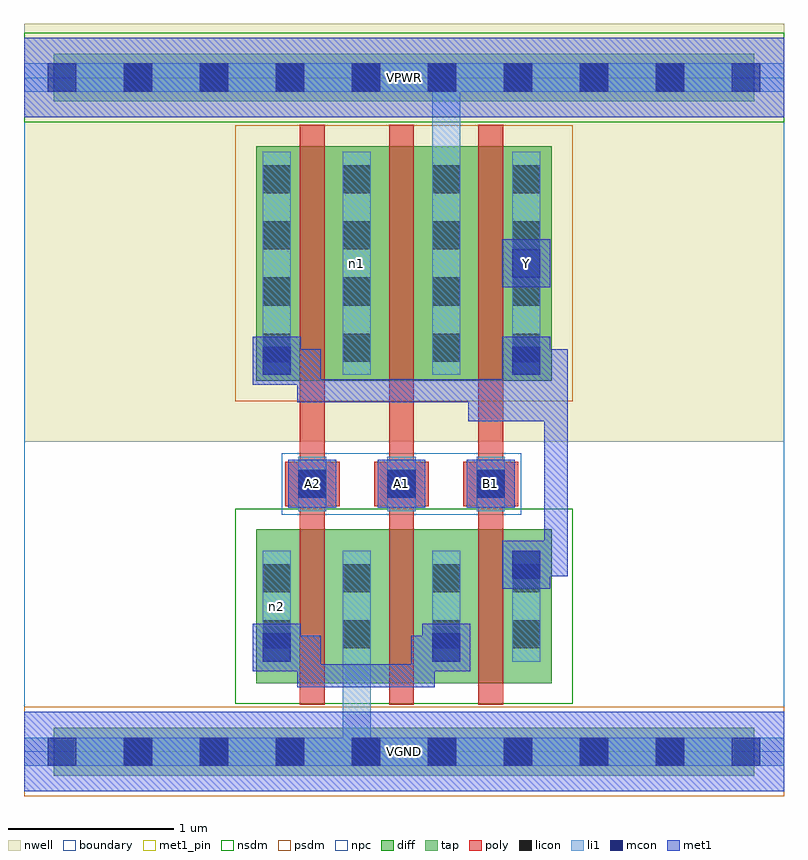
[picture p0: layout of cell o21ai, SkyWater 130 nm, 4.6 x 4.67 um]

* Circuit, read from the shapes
.subckt o21ai A1 A2 B1 VGND VPWR Y n1 n2
XM1 VGND A2 n2 VGND sky130_fd_pr__nfet_01v8 w=0.93 l=0.15
XM2 n2 A1 VGND VGND sky130_fd_pr__nfet_01v8 w=0.93 l=0.15
XM3 Y B1 n2 VGND sky130_fd_pr__nfet_01v8 w=0.93 l=0.15
XM4 n1 A2 Y VPWR sky130_fd_pr__pfet_01v8 w=1.42 l=0.15
XM5 VPWR A1 n1 VPWR sky130_fd_pr__pfet_01v8 w=1.42 l=0.15
XM6 Y B1 VPWR VPWR sky130_fd_pr__pfet_01v8 w=1.42 l=0.15
.ends

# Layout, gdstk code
import gdstk
lib = gdstk.Library(unit=1e-6, precision=1e-09)
def R(c, l, rs):  # rectangles x0, y0, x1, y1
    for r in rs: c.add(gdstk.rectangle(r[:2], r[2:], *l))
def A(c, l, x, y, w, h, nx, ny, dx, dy):  # array of equal rectangles
    R(c, l, [(x+i*dx, y+j*dy, x+i*dx+w, y+j*dy+h) for i in range(nx) for j in range(ny)])
nwell = (64, 20)
diff = (65, 20)
tap = (65, 44)
poly = (66, 20)
licon = (66, 44)
li1 = (67, 20)
mcon = (67, 44)
met1_pin = (68, 16)
met1 = (68, 20)
nsdm = (93, 44)
psdm = (94, 20)
npc = (95, 20)
boundary = (235, 4)

o21ai = lib.new_cell('o21ai')
R(o21ai, nwell, [(0,1.875,4.6,4.405)])
R(o21ai, diff, [(1.405,0.415,3.195,1.345), (1.405,2.245,3.195,3.665)])
R(o21ai, tap, [(0.18,-0.145,4.42,0.145), (0.18,3.935,4.42,4.225)])
A(o21ai, poly, 1.67, 0.285, 0.15, 3.51, 3, 1, 0.54, 0)
A(o21ai, poly, 1.58, 1.485, 0.33, 0.27, 3, 1, 0.54, 0)
A(o21ai, licon, 0.605, -0.085, 0.17, 0.17, 8, 2, 0.46, 4.08)
A(o21ai, licon, 1.66, 1.535, 0.17, 0.17, 3, 1, 0.54, 0)
A(o21ai, licon, 1.445, 2.36, 0.17, 0.17, 1, 4, 0, 0.34)
A(o21ai, licon, 1.93, 2.36, 0.17, 0.17, 1, 4, 0, 0.34)
A(o21ai, licon, 2.47, 2.36, 0.17, 0.17, 1, 4, 0, 0.34)
A(o21ai, licon, 2.955, 2.36, 0.17, 0.17, 1, 4, 0, 0.34)
R(o21ai, licon, [(1.445,0.625,1.615,0.795), (1.93,0.625,2.1,0.795), (2.47,0.625,2.64,0.795), (2.955,0.625,3.125,0.795), (1.445,0.965,1.615,1.135), (1.93,0.965,2.1,1.135), (2.47,0.965,2.64,1.135), (2.955,0.965,3.125,1.135)])
A(o21ai, li1, 1.66, 1.455, 0.17, 0.33, 3, 1, 0.54, 0)
R(o21ai, li1, [(0,-0.085,4.6,0.085), (1.93,-0.085,2.1,1.215), (1.445,0.545,1.615,1.215), (1.93,0.545,2.1,1.215), (2.47,0.545,2.64,1.215), (2.955,0.545,3.125,1.215), (1.445,2.28,1.615,3.63), (1.93,2.28,2.1,3.63), (2.47,2.28,2.64,3.63), (2.47,2.28,2.64,4.165), (2.955,2.28,3.125,3.63), (0,3.995,4.6,4.165)])
A(o21ai, mcon, 0.145, -0.085, 0.17, 0.17, 10, 2, 0.46, 4.08)
A(o21ai, mcon, 1.66, 1.535, 0.17, 0.17, 3, 1, 0.54, 0)
R(o21ai, mcon, [(1.445,0.545,1.615,0.715), (2.47,0.545,2.64,0.715), (2.955,1.045,3.125,1.215), (1.445,2.28,1.615,2.45), (2.955,2.28,3.125,2.45), (2.955,2.87,3.125,3.04)])
A(o21ai, met1_pin, 1.6, 1.475, 0.29, 0.29, 3, 1, 0.54, 0)
R(o21ai, met1_pin, [(0,-0.24,4.6,0.24), (2.895,2.81,3.185,3.1), (0,3.84,4.6,4.32)])
A(o21ai, met1, 1.6, 1.475, 0.29, 0.29, 3, 1, 0.54, 0)
R(o21ai, met1, [(0,-0.24,4.6,0.24), (1.655,0.39,1.795,0.7), (1.655,0.39,2.485,0.53), (2.345,0.39,2.485,0.7), (1.385,0.485,1.675,0.775), (2.41,0.485,2.7,0.775), (1.46,0.56,1.795,0.7), (2.345,0.56,2.625,0.7), (2.895,0.985,3.185,1.275), (2.97,1.06,3.29,1.2), (3.15,1.06,3.29,1.335), (3.15,1.195,3.29,2.255), (2.69,2,3.29,2.14), (2.69,2,2.83,2.255), (1.655,2.115,1.795,2.435), (1.655,2.115,2.83,2.255), (3.15,2.115,3.29,2.435), (2.83,2.14,2.895,2.22), (2.895,2.14,3.185,2.22), (1.385,2.22,1.675,2.51), (2.83,2.22,2.895,2.255), (2.895,2.22,3.185,2.51), (1.46,2.295,1.795,2.435), (2.97,2.295,3.29,2.435), (2.895,2.81,3.185,3.1), (0,3.84,4.6,4.32)])
R(o21ai, nsdm, [(1.28,0.29,3.32,1.47), (0,3.81,4.6,4.35)])
R(o21ai, psdm, [(0,-0.27,4.6,0.27), (1.28,2.12,3.32,3.79)])
R(o21ai, npc, [(1.56,1.435,3.01,1.805)])
R(o21ai, boundary, [(0,0,4.6,4.08)])
o21ai.add(gdstk.Label('n2', (1.53,0.88), layer=67, texttype=5))
o21ai.add(gdstk.Label('n1', (2.015,2.955), layer=67, texttype=5))
o21ai.add(gdstk.Label('A1', (2.285,1.62), layer=68, texttype=5))
o21ai.add(gdstk.Label('A2', (1.745,1.62), layer=68, texttype=5))
o21ai.add(gdstk.Label('B1', (2.825,1.62), layer=68, texttype=5))
o21ai.add(gdstk.Label('Y', (3.04,2.955), layer=68, texttype=5))
o21ai.add(gdstk.Label('VPWR', (2.3,4.08), layer=68, texttype=5))
o21ai.add(gdstk.Label('VGND', (2.3,0), layer=68, texttype=5))
o21ai.add(gdstk.Label('A1', (2.285,1.62), layer=68, texttype=16))
o21ai.add(gdstk.Label('A2', (1.745,1.62), layer=68, texttype=16))
o21ai.add(gdstk.Label('B1', (2.825,1.62), layer=68, texttype=16))
o21ai.add(gdstk.Label('Y', (3.04,2.955), layer=68, texttype=16))
o21ai.add(gdstk.Label('VPWR', (2.3,4.08), layer=68, texttype=16))
o21ai.add(gdstk.Label('VGND', (2.3,0), layer=68, texttype=16))

lib.write_gds('o21ai.gds')
